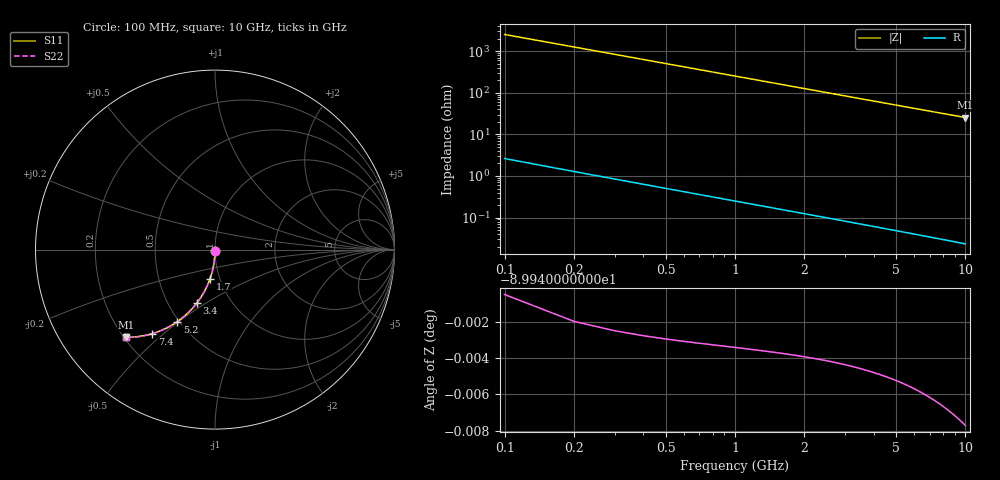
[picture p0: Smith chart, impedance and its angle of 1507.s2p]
# Hz S RI R 50.00
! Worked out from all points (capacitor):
!   100 points, 100 MHz to 10 GHz, reference 50 ohm
!   read as one part in shunt: C = 629 fF near 100 MHz
!   lowest |Z| = 25.5 ohm at 10 GHz (marker M1)
!   S11 on the Smith chart (normalised r, x): 100 MHz: 1.00, -0.02; 1.7 GHz: 0.90, -0.30; 3.4 GHz: 0.69, -0.46; 5.2 GHz: 0.49, -0.49; 7.4 GHz: 0.32, -0.46; 10 GHz: 0.21, -0.39
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1e8  -1.9e-05 -0.00978  0.9998 -0.00999  0.9998 -0.00999  -1.9e-05 -0.00978
2e8  -0.000321 -0.0195  0.9995 -0.02  0.9995 -0.02  -0.000321 -0.0195
3e8  -0.000818 -0.0293  0.999 -0.03  0.999 -0.03  -0.000818 -0.0293
4e8  -0.00151 -0.039  0.9983 -0.0399  0.9983 -0.0399  -0.00151 -0.039
5e8  -0.0024 -0.0488  0.9974 -0.0498  0.9974 -0.0498  -0.0024 -0.0488
6e8  -0.00347 -0.0585  0.9963 -0.0597  0.9963 -0.0597  -0.00347 -0.0585
8e8  -0.0062 -0.0777  0.9936 -0.0794  0.9936 -0.0794  -0.0062 -0.0777
1.1e9  -0.0117 -0.1063  0.9881 -0.1086  0.9881 -0.1086  -0.0117 -0.1063
1.4e9  -0.0188 -0.1343  0.981 -0.1373  0.981 -0.1373  -0.0188 -0.1343
1.7e9  -0.0275 -0.1616  0.9723 -0.1652  0.9723 -0.1652  -0.0275 -0.1616
1.8e9  -0.0308 -0.1705  0.969 -0.1744  0.969 -0.1744  -0.0308 -0.1705
2.1e9  -0.0414 -0.1967  0.9584 -0.2012  0.9584 -0.2012  -0.0414 -0.1967
2.5e9  -0.0577 -0.2301  0.9421 -0.2356  0.9421 -0.2356  -0.0577 -0.2301
2.9e9  -0.0761 -0.2617  0.9237 -0.268  0.9237 -0.268  -0.0761 -0.2617
3.4e9  -0.1017 -0.2982  0.8981 -0.3056  0.8981 -0.3056  -0.1017 -0.2982
4.2e9  -0.1473 -0.3495  0.8524 -0.3586  0.8524 -0.3586  -0.1473 -0.3495
5.1e9  -0.2031 -0.3963  0.7967 -0.4074  0.7967 -0.4074  -0.2031 -0.3963
5.2e9  -0.2094 -0.4008  0.7903 -0.4121  0.7903 -0.4121  -0.2094 -0.4008
6.7e9  -0.3056 -0.4529  0.6941 -0.4675  0.6941 -0.4675  -0.3056 -0.4529
7.4e9  -0.3494 -0.4683  0.6503 -0.4844  0.6503 -0.4844  -0.3494 -0.4683
8.4e9  -0.4092 -0.4821  0.5905 -0.5004  0.5905 -0.5004  -0.4092 -0.4821
1e10  -0.4957 -0.4886  0.5039 -0.5104  0.5039 -0.5104  -0.4957 -0.4886
